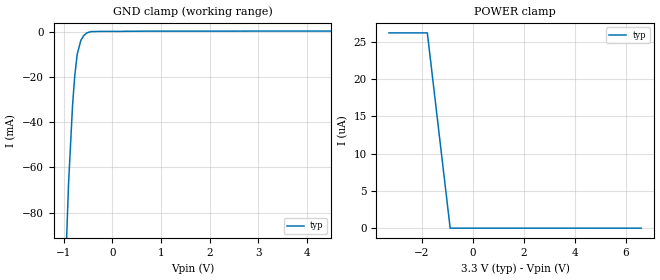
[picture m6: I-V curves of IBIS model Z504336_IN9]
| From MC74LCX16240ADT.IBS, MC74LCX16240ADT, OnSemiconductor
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| (C) COPYRIGHT 1993-2000
| MENTOR GRAPHICS CORPORATION
| ICX STANDARD LIBRARY, ICX PROJECT MODELING,
| ICX CUSTOM MODELING, ICX VENDOR MODEL
| ALL RIGHTS RESERVED.
| THE FOLLOWING ARE TRADEMARKS OR SERVICE MARKS OF
| MENTOR GRAPHICS CORPORATION:ICX (R), ICX STANDARD
| LIBRARY(R), ICX PROJECT MODELING(R), ICX CUSTOM
| MODELING(R), qualityIBIS(TM), MODELVIEWER(TM),
| AND MODELEDITOR(TM)
| ALL COPIES OF SOFTWARE, INCLUDING BUT NOT LIMITED TO
| ANY MODIFICATIONS, ENHANCEMENTS OR DERIVATIVE WORKS,
| MUST CONTAIN ALL MENTOR GRAPHICS CORPORATION'S
| NOTICES AND LEGENDS, INCLUDING THOSE EMBEDDED IN
| SOFTWARE AND THOSE AFFIXED TO SOFTWARE MEDIUM
| AND CONTAINER, AS RECEIVED FROM MENTOR GRAPHICS
| CORPORATION.
| Model Application Version 1.89 2/18/99.
[Model] Z504336_IN9
Model_type Input
Vinl = 800.0mV
Vinh = 2.000V
C_comp 4.000pF NA NA
| variable typ   min   max
[Voltage Range] 3.300V NA NA
[GND Clamp Reference] 0.000V NA NA
[POWER Clamp Reference] 3.300V NA NA
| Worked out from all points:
|   GND clamp passes 1 mA (typ) near -0.55 V on its own axis
[GND Clamp]
-3.3V     -1.896A    NA         NA
-1.054V   -162.2mA   NA         NA
-897.9mV  -67.38mA   NA         NA
-814.3mV  -32.24mA   NA         NA
-768.9mV  -19.3mA    NA         NA
-720.6mV  -10.07mA   NA         NA
-644.5mV  -3.88mA    NA         NA
-586.9mV  -1.849mA   NA         NA
-531.8mV  -721.5uA   NA         NA
-429.6mV  -18.81uA   NA         NA
-214.8mV  91.78uA    NA         NA
6.6V      220.2uA    NA         NA
[POWER Clamp]
-3.3V     26.2uA     NA         NA
-1.793V   26.2uA     NA         NA
-896.5mV  0A         NA         NA
6.6V      0A         NA         NA
